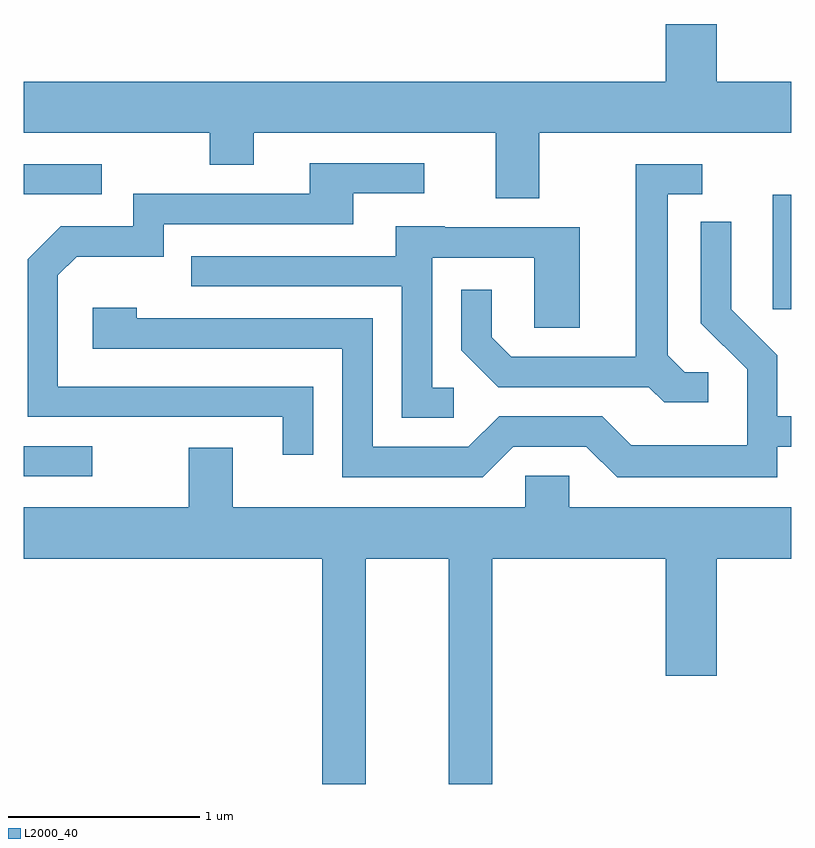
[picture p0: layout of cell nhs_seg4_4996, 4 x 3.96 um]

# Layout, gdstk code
import gdstk
lib = gdstk.Library(unit=1e-6, precision=1e-09)
def R(c, l, rs):  # rectangles x0, y0, x1, y1
    for r in rs: c.add(gdstk.rectangle(r[:2], r[2:], *l))
def P(c, l, *ps):  # polygons
    for p in ps: c.add(gdstk.Polygon(p, *l))
L2000_40 = (2000, 40)

nhs_seg4_4996 = lib.new_cell('nhs_seg4_4996')
R(nhs_seg4_4996, L2000_40, [(331.611,1319.586,331.968,1319.744), (335.516,1320.456,335.611,1321.054), (331.611,1321.056,332.018,1321.214)])
P(nhs_seg4_4996, L2000_40, [(334.299,1321.376),(335.611,1321.376),(335.611,1321.644),(335.224,1321.644),(335.224,1321.944),(334.956,1321.944),(334.956,1321.644),(331.611,1321.644),(331.611,1321.376),(332.581,1321.376),(332.581,1321.211),(332.809,1321.211),(332.809,1321.376),(334.071,1321.376),(334.071,1321.036),(334.299,1321.036)],
  [(333.119,1320.054),(331.789,1320.054),(331.789,1320.634),(331.887,1320.731),(332.339,1320.731),(332.339,1320.901),(333.329,1320.901),(333.329,1321.061),(333.698,1321.061),(333.698,1321.219),(333.101,1321.219),(333.101,1321.059),(332.181,1321.059),(332.181,1320.889),(331.804,1320.889),(331.631,1320.717),(331.631,1319.896),(332.961,1319.896),(332.961,1319.698),(333.119,1319.698)],
  [(335.178,1320.129),(335.057,1320.129),(334.969,1320.217),(334.969,1321.056),(335.148,1321.056),(335.148,1321.214),(334.801,1321.214),(334.801,1320.209),(334.152,1320.209),(334.049,1320.312),(334.049,1320.558),(333.891,1320.558),(333.891,1320.244),(334.084,1320.051),(334.869,1320.051),(334.949,1319.971),(335.178,1319.971)],
  [(334.162,1319.741),(334.544,1319.741),(334.704,1319.581),(335.539,1319.581),(335.539,1319.741),(335.611,1319.741),(335.611,1319.899),(335.539,1319.899),(335.539,1320.217),(335.299,1320.457),(335.299,1320.913),(335.141,1320.913),(335.141,1320.384),(335.381,1320.144),(335.381,1319.749),(334.777,1319.749),(334.627,1319.899),(334.089,1319.899),(333.929,1319.739),(333.429,1319.739),(333.429,1320.409),(332.199,1320.409),(332.199,1320.464),(331.971,1320.464),(331.971,1320.251),(333.271,1320.251),(333.271,1319.581),(334.002,1319.581)],
  [(333.853,1320.049),(333.739,1320.049),(333.739,1320.726),(334.271,1320.726),(334.271,1320.361),(334.509,1320.361),(334.509,1320.884),(333.805,1320.884),(333.805,1320.889),(333.551,1320.889),(333.551,1320.734),(332.483,1320.734),(332.483,1320.576),(333.581,1320.576),(333.581,1319.891),(333.853,1319.891)],
  [(333.394,1319.156),(333.826,1319.156),(333.826,1317.982),(334.054,1317.982),(334.054,1319.156),(334.956,1319.156),(334.956,1318.546),(335.224,1318.546),(335.224,1319.156),(335.611,1319.156),(335.611,1319.424),(334.454,1319.424),(334.454,1319.589),(334.226,1319.589),(334.226,1319.424),(332.699,1319.424),(332.699,1319.734),(332.471,1319.734),(332.471,1319.424),(331.611,1319.424),(331.611,1319.156),(333.166,1319.156),(333.166,1317.982),(333.394,1317.982)])

lib.write_gds('nhs_seg4_4996.gds')
